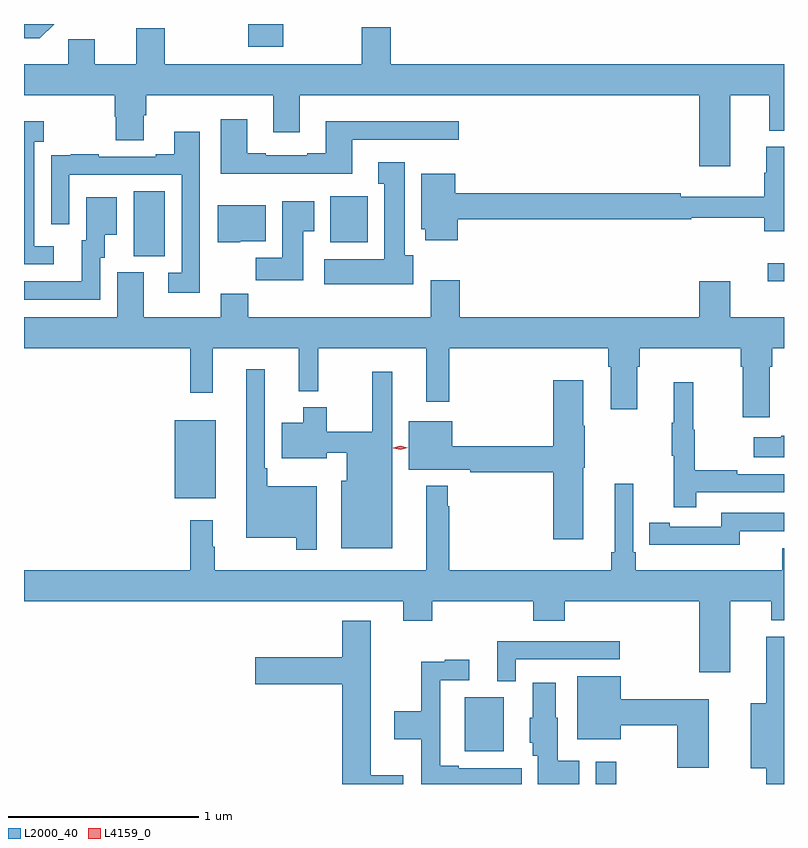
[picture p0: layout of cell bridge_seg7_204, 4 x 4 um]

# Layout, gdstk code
import gdstk
lib = gdstk.Library(unit=1e-6, precision=1e-09)
def R(c, l, rs):  # rectangles x0, y0, x1, y1
    for r in rs: c.add(gdstk.rectangle(r[:2], r[2:], *l))
def P(c, l, *ps):  # polygons
    for p in ps: c.add(gdstk.Polygon(p, *l))
L2000_40 = (2000, 40)
L4159_0 = (4159, 0)

bridge_seg7_204 = lib.new_cell('bridge_seg7_204')
R(bridge_seg7_204, L2000_40, [(152.475,1016.971,152.584,1017.088), (151.787,1017.143,151.993,1017.427), (150.26,1018.475,150.475,1018.885), (153.381,1019.616,153.467,1019.712), (150.044,1019.749,150.208,1020.092), (151.079,1019.822,151.276,1020.064), (150.647,1020.851,150.832,1020.971), (150.932,1020.969,151.093,1020.971)])
P(bridge_seg7_204, L2000_40, [(149.625,1020.971),(149.467,1020.971),(149.467,1020.896),(149.55,1020.896)],
  [(153.02,1020.222),(153.184,1020.222),(153.184,1020.596),(153.389,1020.596),(153.389,1020.409),(153.467,1020.409),(153.467,1020.76),(151.397,1020.76),(151.397,1020.955),(151.244,1020.955),(151.244,1020.76),(150.207,1020.76),(150.207,1020.948),(150.059,1020.948),(150.059,1020.76),(149.839,1020.76),(149.839,1020.892),(149.7,1020.892),(149.7,1020.76),(149.467,1020.76),(149.467,1020.596),(149.945,1020.596),(149.945,1020.483),(149.95,1020.483),(149.95,1020.358),(150.097,1020.358),(150.097,1020.49),(150.11,1020.49),(150.11,1020.596),(150.779,1020.596),(150.779,1020.402),(150.919,1020.402),(150.919,1020.596),(153.02,1020.596)],
  [(151.195,1020.363),(151.756,1020.363),(151.756,1020.46),(151.055,1020.46),(151.055,1020.292),(150.959,1020.292),(150.959,1020.279),(150.739,1020.279),(150.739,1020.292),(150.643,1020.292),(150.643,1020.469),(150.503,1020.469),(150.503,1020.182),(151.195,1020.182)],
  [(149.623,1019.802),(149.52,1019.802),(149.52,1020.35),(149.572,1020.35),(149.572,1020.46),(149.467,1020.46),(149.467,1019.706),(149.623,1019.706)],
  [(150.393,1020.403),(150.257,1020.403),(150.257,1020.286),(150.161,1020.286),(150.161,1020.273),(149.861,1020.273),(149.861,1020.286),(149.713,1020.286),(149.713,1020.279),(149.611,1020.279),(149.611,1020.17),(149.61,1020.17),(149.61,1019.916),(149.706,1019.916),(149.706,1020.177),(150.297,1020.177),(150.297,1019.661),(150.225,1019.661),(150.225,1019.556),(150.393,1019.556)],
  [(151.751,1019.944),(152.978,1019.944),(152.978,1019.952),(153.362,1019.952),(153.362,1019.88),(153.467,1019.88),(153.467,1020.324),(153.374,1020.324),(153.374,1020.188),(153.362,1020.188),(153.362,1020.061),(152.924,1020.061),(152.924,1020.08),(151.738,1020.08),(151.738,1020.184),(151.559,1020.184),(151.559,1019.892),(151.58,1019.892),(151.58,1019.832),(151.751,1019.832)],
  [(151.516,1019.754),(151.471,1019.754),(151.471,1020.244),(151.331,1020.244),(151.331,1020.131),(151.364,1020.131),(151.364,1019.734),(151.047,1019.734),(151.047,1019.6),(151.516,1019.6)],
  [(149.868,1019.742),(149.893,1019.742),(149.893,1019.861),(149.956,1019.861),(149.956,1020.058),(149.795,1020.058),(149.795,1019.832),(149.771,1019.832),(149.771,1019.616),(149.467,1019.616),(149.467,1019.52),(149.868,1019.52)],
  [(150.937,1019.881),(150.994,1019.881),(150.994,1020.037),(150.827,1020.037),(150.827,1019.74),(150.688,1019.74),(150.688,1019.622),(150.937,1019.622)],
  [(150.606,1019.828),(150.739,1019.828),(150.739,1020.016),(150.488,1020.016),(150.488,1019.822),(150.606,1019.822)],
  [(153.391,1019.168),(153.404,1019.168),(153.404,1019.264),(153.467,1019.264),(153.467,1019.428),(153.184,1019.428),(153.184,1019.617),(153.02,1019.617),(153.02,1019.428),(151.76,1019.428),(151.76,1019.623),(151.607,1019.623),(151.607,1019.428),(150.647,1019.428),(150.647,1019.552),(150.503,1019.552),(150.503,1019.428),(150.097,1019.428),(150.097,1019.664),(149.957,1019.664),(149.957,1019.428),(149.467,1019.428),(149.467,1019.264),(150.343,1019.264),(150.343,1019.031),(150.461,1019.031),(150.461,1019.264),(150.914,1019.264),(150.914,1019.039),(151.016,1019.039),(151.016,1019.264),(151.583,1019.264),(151.583,1018.983),(151.705,1018.983),(151.705,1019.264),(152.543,1019.264),(152.543,1019.168),(152.555,1019.168),(152.555,1018.944),(152.695,1018.944),(152.695,1019.168),(152.708,1019.168),(152.708,1019.264),(153.239,1019.264),(153.239,1019.168),(153.251,1019.168),(153.251,1018.902),(153.391,1018.902)],
  [(151.008,1018.537),(150.748,1018.537),(150.748,1018.633),(150.735,1018.633),(150.735,1019.155),(150.638,1019.155),(150.638,1018.268),(150.9,1018.268),(150.9,1018.203),(151.008,1018.203)],
  [(151.405,1019.14),(151.301,1019.14),(151.301,1018.825),(151.06,1018.825),(151.06,1018.954),(150.938,1018.954),(150.938,1018.873),(150.824,1018.873),(150.824,1018.685),(151.06,1018.685),(151.06,1018.715),(151.166,1018.715),(151.166,1018.567),(151.136,1018.567),(151.136,1018.211),(151.405,1018.211)],
  [(152.41,1018.635),(152.418,1018.635),(152.418,1018.856),(152.41,1018.856),(152.41,1019.095),(152.252,1019.095),(152.252,1018.748),(151.72,1018.748),(151.72,1018.879),(151.493,1018.879),(151.493,1018.625),(151.816,1018.625),(151.816,1018.612),(152.252,1018.612),(152.252,1018.26),(152.41,1018.26)],
  [(153.005,1018.506),(153.467,1018.506),(153.467,1018.602),(153.221,1018.602),(153.221,1018.622),(152.998,1018.622),(152.998,1018.836),(152.99,1018.836),(152.99,1019.086),(152.888,1019.086),(152.888,1018.873),(152.877,1018.873),(152.877,1018.699),(152.888,1018.699),(152.888,1018.428),(153.005,1018.428)],
  [(153.467,1018.805),(153.452,1018.805),(153.452,1018.795),(153.309,1018.795),(153.309,1018.691),(153.467,1018.691)],
  [(153.184,1017.932),(153.401,1017.932),(153.401,1017.833),(153.467,1017.833),(153.467,1018.213),(153.458,1018.213),(153.458,1018.096),(152.687,1018.096),(152.687,1018.192),(152.673,1018.192),(152.673,1018.552),(152.576,1018.552),(152.576,1018.192),(152.557,1018.192),(152.557,1018.096),(151.705,1018.096),(151.705,1018.433),(151.698,1018.433),(151.698,1018.54),(151.583,1018.54),(151.583,1018.096),(150.472,1018.096),(150.472,1018.22),(150.46,1018.22),(150.46,1018.36),(150.343,1018.36),(150.343,1018.096),(149.467,1018.096),(149.467,1017.932),(151.463,1017.932),(151.463,1017.83),(151.616,1017.83),(151.616,1017.932),(152.147,1017.932),(152.147,1017.83),(152.312,1017.83),(152.312,1017.932),(153.02,1017.932),(153.02,1017.558),(153.184,1017.558)],
  [(153.234,1018.302),(153.467,1018.302),(153.467,1018.398),(153.138,1018.398),(153.138,1018.326),(152.866,1018.326),(152.866,1018.346),(152.758,1018.346),(152.758,1018.23),(152.866,1018.23),(152.866,1018.229),(153.234,1018.229)],
  [(151.462,1017.017),(151.291,1017.017),(151.291,1017.829),(151.142,1017.829),(151.142,1017.639),(150.684,1017.639),(150.684,1017.497),(151.142,1017.497),(151.142,1016.971),(151.462,1016.971)],
  [(153.467,1017.746),(153.374,1017.746),(153.374,1017.397),(153.293,1017.397),(153.293,1017.053),(153.374,1017.053),(153.374,1016.971),(153.467,1016.971)],
  [(152.055,1017.627),(152.602,1017.627),(152.602,1017.723),(151.958,1017.723),(151.958,1017.512),(152.055,1017.512)],
  [(152.086,1017.054),(151.756,1017.054),(151.756,1017.067),(151.659,1017.067),(151.659,1017.516),(151.81,1017.516),(151.81,1017.625),(151.682,1017.625),(151.682,1017.614),(151.558,1017.614),(151.558,1017.354),(151.416,1017.354),(151.416,1017.206),(151.558,1017.206),(151.558,1016.971),(152.086,1016.971)],
  [(153.07,1017.416),(152.608,1017.416),(152.608,1017.538),(152.378,1017.538),(152.378,1017.206),(152.608,1017.206),(152.608,1017.28),(152.905,1017.28),(152.905,1017.057),(153.07,1017.057)],
  [(152.39,1017.094),(152.275,1017.094),(152.275,1017.321),(152.266,1017.321),(152.266,1017.505),(152.144,1017.505),(152.144,1017.321),(152.129,1017.321),(152.129,1017.189),(152.144,1017.189),(152.144,1017.12),(152.171,1017.12),(152.171,1016.971),(152.39,1016.971)])
P(bridge_seg7_204, L4159_0, [(151.449,1018.731),(151.41,1018.739),(151.41,1018.74),(151.41,1018.74),(151.448,1018.751),(151.487,1018.742),(151.487,1018.742),(151.487,1018.742)])

lib.write_gds('bridge_seg7_204.gds')
